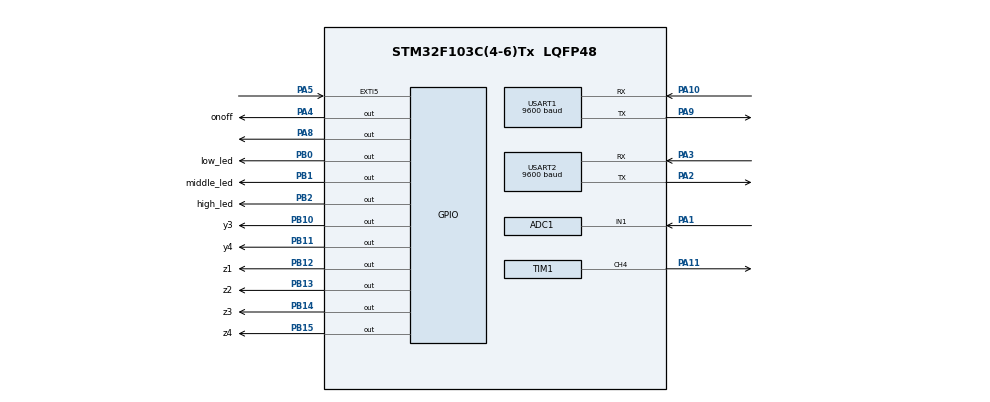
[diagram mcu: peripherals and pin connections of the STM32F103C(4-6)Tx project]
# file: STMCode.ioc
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ADC1.Channel-0\#ChannelRegularConversion=ADC_CHANNEL_1
ADC1.ContinuousConvMode=ENABLE
ADC1.NbrOfConversionFlag=1
ADC1.Rank-0\#ChannelRegularConversion=1
ADC1.SamplingTime-0\#ChannelRegularConversion=ADC_SAMPLETIME_55CYCLES_5
ADC1.master=1
Mcu.Family=STM32F1
Mcu.Name=STM32F103C(4-6)Tx
Mcu.Package=LQFP48
NVIC.ADC1_2_IRQn=true\:0\:0\:false\:false\:true\:true\:true
NVIC.EXTI9_5_IRQn=true\:0\:0\:false\:false\:true\:true\:true
NVIC.PriorityGroup=NVIC_PRIORITYGROUP_4
NVIC.RTC_IRQn=true\:0\:0\:false\:false\:true\:true\:true
NVIC.TIM2_IRQn=true\:0\:0\:true\:false\:true\:true\:true
NVIC.USART2_IRQn=true\:0\:0\:false\:false\:true\:true\:true
PA1.Signal=ADCx_IN1
PA10.Mode=Asynchronous
PA10.Signal=USART1_RX
PA11.Signal=S_TIM1_CH4
PA13.Mode=Serial_Wire
PA13.Signal=SYS_JTMS-SWDIO
PA14.Mode=Serial_Wire
PA14.Signal=SYS_JTCK-SWCLK
PA2.Mode=Asynchronous
PA2.Signal=USART2_TX
PA3.Mode=Asynchronous
PA3.Signal=USART2_RX
PA4.GPIO_Label=onoff
PA4.Signal=GPIO_Output
PA5.Signal=GPXTI5
PA8.Signal=GPIO_Output
PA9.Mode=Asynchronous
PA9.Signal=USART1_TX
PB0.GPIO_Label=low_led
PB0.Signal=GPIO_Output
PB1.GPIO_Label=middle_led
PB1.Signal=GPIO_Output
PB10.GPIO_Label=y3
PB10.Signal=GPIO_Output
PB11.GPIO_Label=y4
PB11.Signal=GPIO_Output
PB12.GPIO_Label=z1
PB12.Signal=GPIO_Output
PB13.GPIO_Label=z2
PB13.Signal=GPIO_Output
PB14.GPIO_Label=z3
PB14.Signal=GPIO_Output
PB15.GPIO_Label=z4
PB15.Signal=GPIO_Output
PB2.GPIO_Label=high_led
PB2.Signal=GPIO_Output
ProjectManager.HeapSize=0x200
ProjectManager.StackSize=0x400
ProjectManager.TargetToolchain=MDK-ARM V5
RCC.APB1Freq_Value=8000000
RCC.APB2Freq_Value=8000000
RTC.Format=RTC_FORMAT_BIN
RTC.Hours=10
RTC.Minutes=30
SH.ADCx_IN1.0=ADC1_IN1,IN1
SH.S_TIM1_CH4.0=TIM1_CH4,PWM Generation4 CH4
TIM1.Channel-PWM\ Generation4\ CH4=TIM_CHANNEL_4
TIM1.OCIdleState_4=TIM_OCIDLESTATE_SET
TIM1.OCMode_PWM-PWM\ Generation4\ CH4=TIM_OCMODE_PWM2
TIM1.Period=999
TIM1.Prescaler=7
TIM1.Pulse-PWM\ Generation4\ CH4=500
TIM2.Period=999
TIM2.Prescaler=1999
USART1.BaudRate=9600
USART1.VirtualMode=VM_ASYNC
USART2.BaudRate=9600
USART2.Mode=MODE_TX_RX
USART2.VirtualMode=VM_ASYNC
VP_RTC_VS_RTC_Activate.Mode=RTC_Enabled
VP_RTC_VS_RTC_Calendar.Mode=RTC_Calendar
VP_TIM1_VS_ClockSourceINT.Mode=Internal
VP_TIM2_VS_ClockSourceINT.Mode=Internal
board=custom

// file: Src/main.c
/* USER CODE BEGIN Header */
/**
  ******************************************************************************
  * @file           : main.c
  * @brief          : Main program body
  ******************************************************************************
  * @attention
  *
  * <h2><center>&copy; Copyright (c) 2021 STMicroelectronics.
  * All rights reserved.</center></h2>
  *
  * This software component is licensed by ST under BSD 3-Clause license,
  * the "License"; You may not use this file except in compliance with the
  * License. You may obtain a copy of the License at:
  *                        opensource.org/licenses/BSD-3-Clause
  *
  ******************************************************************************
  */
/* USER CODE END Header */
#include "main.h"

/* USER CODE BEGIN Includes */
#include <stdio.h>
#include "string.h"
#include "lcd_txt.h"
/* USER CODE END Includes */

/* USER CODE BEGIN PTD */
static uint16_t status=0;
/* USER CODE END PTD */

ADC_HandleTypeDef hadc1;

RTC_HandleTypeDef hrtc;

TIM_HandleTypeDef htim1;
TIM_HandleTypeDef htim2;

UART_HandleTypeDef huart1;
UART_HandleTypeDef huart2;

/* USER CODE BEGIN PV */
uint16_t adc_val_ldr=0;   //Light sensor raw data
char uart_msg[100];
uint8_t uart_msg2[1];//UART message string kept here
char init_msg[]="                  Anil And Ziya Presents...\r\n";
char str[10];

uint16_t amountOfLigth=0;		//FOR lcd , processed raw light sensor data comes here
uint16_t pwmValue=0;			//PWM to digital !!!!!!!
uint16_t firstDigit=0;    // seven-segment first digit placeholder
uint16_t secondDigit=0;		// seven-segment second digit placeholder
uint16_t thirdDigit=0;		// seven-segment third digit placeholder
uint16_t ligthCopy=0; 		//for leds green white and red
uint16_t previous=0;			//to run lcd_clean because if we run each time is not seems good
int i=0;
RTC_TimeTypeDef sTime;
RTC_DateTypeDef sDate;
uint8_t sec = 0;
uint8_t min = 0;
uint8_t hour = 0;
char time[10];

/* USER CODE END PV */

void SystemClock_Config(void);
static void MX_GPIO_Init(void);
static void MX_ADC1_Init(void);
static void MX_TIM1_Init(void);
static void MX_TIM2_Init(void);
static void MX_USART1_UART_Init(void);
static void MX_USART2_UART_Init(void);
static void MX_RTC_Init(void);

/* USER CODE BEGIN 0 */

//this method is used to transform adc raw value to user friendly format
float mapValue(float adc_val, float min_Adc, float max_Adc, float min_Map, float max_Map){
	return adc_val*((max_Map-min_Map)/(max_Adc-min_Adc));
}

/* USER CODE END 0 */

int main(void)
{

  /* MCU Configuration--------------------------------------------------------*/

  /* Reset of all peripherals, Initializes the Flash interface and the Systick. */
  HAL_Init();

  /* Configure the system clock */
  SystemClock_Config();

  /* Initialize all configured peripherals */
  MX_GPIO_Init();
  MX_ADC1_Init();
  MX_TIM1_Init();
  MX_TIM2_Init();
  MX_USART1_UART_Init();
  MX_USART2_UART_Init();
  MX_RTC_Init();
  /* USER CODE BEGIN 2 */
	HAL_GPIO_WritePin(GPIOA, GPIO_PIN_8, GPIO_PIN_SET);

	lcd_init();

	//lcd_puts(0,0,(int8_t*)"lcd test");
	//HAL_Delay(1000);

	HAL_UART_Transmit(&huart1, (uint8_t*)init_msg, strlen(init_msg),100); //transmitting openning message
	//GPIOB->ODR=(0<<4 | (0<<8) |(0<<12)); // starting lcd with initializing it to zero
  //HAL_Delay(500);
	HAL_ADC_Start_IT(&hadc1);//starting interrupt system
	HAL_TIM_Base_Start_IT(&htim2); // starting timer
	HAL_TIM_PWM_Start(&htim1,TIM_CHANNEL_4); // started to pwm !!!!!
	uint8_t data_receive_2[1];
	__HAL_RTC_SECOND_ENABLE_IT(&hrtc,RTC_IT_SEC);
  /* USER CODE END 2 */

  /* Infinite loop */
  /* USER CODE BEGIN WHILE */
  while (1)
  {

		//
		/*
		HAL_GPIO_WritePin(GPIOA,GPIO_PIN_1| GPIO_PIN_2|GPIO_PIN_3,1);
    HAL_Delay(1000);
		HAL_GPIO_WritePin(GPIOA,GPIO_PIN_1| GPIO_PIN_2|GPIO_PIN_3,0);
		HAL_Delay(1000);
		*/
    /* USER CODE END WHILE */

    /* USER CODE BEGIN 3 */

		//char a[10];
	// sscanf(uart_msg2, "%s", a);
	 //status = temp2;*/

		HAL_UART_Receive_IT(&huart2, data_receive_2, sizeof(data_receive_2));
			if (data_receive_2[0] == '1')
    {
				status=1;
			HAL_GPIO_WritePin(GPIOA,onoff_Pin, GPIO_PIN_SET);
        //HAL_GPIO_WritePin(GPIOB, GPIO_PIN_1, GPIO_PIN_SET);
        //data_receive_2[0] = ' ';
    }
		if (data_receive_2[0] == '0')
    {
				status=0;
			HAL_GPIO_WritePin(GPIOA,onoff_Pin, GPIO_PIN_RESET);
			HAL_GPIO_WritePin(GPIOB,GPIO_PIN_0, GPIO_PIN_RESET);
		HAL_GPIO_WritePin(GPIOB,GPIO_PIN_1, GPIO_PIN_RESET);
		HAL_GPIO_WritePin(GPIOB,GPIO_PIN_2, GPIO_PIN_RESET);
			lcd_clear();
       // HAL_GPIO_WritePin(GPIOB, GPIO_PIN_1, GPIO_PIN_RESET);
        //data_receive_2[0] = ' ';
    }

		//
		if(status==1){
			//HAL_GPIO_WritePin(
			//lcd_puts(0,0,(int8_t*)time);
			lcd_puts(1,0,(int8_t*)str);

			//lcd_puts(0,0,(int8_t*)uart_msg2);
			sprintf(str,"");
			//	sprintf(time,"");

		//LCD screen display
		//calculating digit values

		}

  }
  /* USER CODE END 3 */
}

void SystemClock_Config(void)
{
  RCC_OscInitTypeDef RCC_OscInitStruct = {0};
  RCC_ClkInitTypeDef RCC_ClkInitStruct = {0};
  RCC_PeriphCLKInitTypeDef PeriphClkInit = {0};

  /** Initializes the RCC Oscillators according to the specified parameters
  * in the RCC_OscInitTypeDef structure.
  */
  RCC_OscInitStruct.OscillatorType = RCC_OSCILLATORTYPE_HSI|RCC_OSCILLATORTYPE_LSI;
  RCC_OscInitStruct.HSIState = RCC_HSI_ON;
  RCC_OscInitStruct.HSICalibrationValue = RCC_HSICALIBRATION_DEFAULT;
  RCC_OscInitStruct.LSIState = RCC_LSI_ON;
  RCC_OscInitStruct.PLL.PLLState = RCC_PLL_NONE;
  if (HAL_RCC_OscConfig(&RCC_OscInitStruct) != HAL_OK)
  {
    Error_Handler();
  }
  /** Initializes the CPU, AHB and APB buses clocks
  */
  RCC_ClkInitStruct.ClockType = RCC_CLOCKTYPE_HCLK|RCC_CLOCKTYPE_SYSCLK
                              |RCC_CLOCKTYPE_PCLK1|RCC_CLOCKTYPE_PCLK2;
  RCC_ClkInitStruct.SYSCLKSource = RCC_SYSCLKSOURCE_HSI;
  RCC_ClkInitStruct.AHBCLKDivider = RCC_SYSCLK_DIV1;
  RCC_ClkInitStruct.APB1CLKDivider = RCC_HCLK_DIV1;
  RCC_ClkInitStruct.APB2CLKDivider = RCC_HCLK_DIV1;

  if (HAL_RCC_ClockConfig(&RCC_ClkInitStruct, FLASH_LATENCY_0) != HAL_OK)
  {
    Error_Handler();
  }
  PeriphClkInit.PeriphClockSelection = RCC_PERIPHCLK_RTC|RCC_PERIPHCLK_ADC;
  PeriphClkInit.RTCClockSelection = RCC_RTCCLKSOURCE_LSI;
  PeriphClkInit.AdcClockSelection = RCC_ADCPCLK2_DIV2;
  if (HAL_RCCEx_PeriphCLKConfig(&PeriphClkInit) != HAL_OK)
  {
    Error_Handler();
  }
}

static void MX_ADC1_Init(void)
{

  ADC_ChannelConfTypeDef sConfig = {0};

  /** Common config
  */
  hadc1.Instance = ADC1;
  hadc1.Init.ScanConvMode = ADC_SCAN_DISABLE;
  hadc1.Init.ContinuousConvMode = ENABLE;
  hadc1.Init.DiscontinuousConvMode = DISABLE;
  hadc1.Init.ExternalTrigConv = ADC_SOFTWARE_START;
  hadc1.Init.DataAlign = ADC_DATAALIGN_RIGHT;
  hadc1.Init.NbrOfConversion = 1;
  if (HAL_ADC_Init(&hadc1) != HAL_OK)
  {
    Error_Handler();
  }
  /** Configure Regular Channel
  */
  sConfig.Channel = ADC_CHANNEL_1;
  sConfig.Rank = ADC_REGULAR_RANK_1;
  sConfig.SamplingTime = ADC_SAMPLETIME_55CYCLES_5;
  if (HAL_ADC_ConfigChannel(&hadc1, &sConfig) != HAL_OK)
  {
    Error_Handler();
  }

}

static void MX_RTC_Init(void)
{

  RTC_TimeTypeDef sTime = {0};
  RTC_DateTypeDef DateToUpdate = {0};

  /** Initialize RTC Only
  */
  hrtc.Instance = RTC;
  hrtc.Init.AsynchPrediv = RTC_AUTO_1_SECOND;
  hrtc.Init.OutPut = RTC_OUTPUTSOURCE_ALARM;
  if (HAL_RTC_Init(&hrtc) != HAL_OK)
  {
    Error_Handler();
  }

  /** Initialize RTC and set the Time and Date
  */
  sTime.Hours = 10;
  sTime.Minutes = 30;
  sTime.Seconds = 0;

  if (HAL_RTC_SetTime(&hrtc, &sTime, RTC_FORMAT_BIN) != HAL_OK)
  {
    Error_Handler();
  }
  DateToUpdate.WeekDay = RTC_WEEKDAY_MONDAY;
  DateToUpdate.Month = RTC_MONTH_JANUARY;
  DateToUpdate.Date = 1;
  DateToUpdate.Year = 0;

  if (HAL_RTC_SetDate(&hrtc, &DateToUpdate, RTC_FORMAT_BIN) != HAL_OK)
  {
    Error_Handler();
  }

}

static void MX_TIM1_Init(void)
{

  TIM_ClockConfigTypeDef sClockSourceConfig = {0};
  TIM_MasterConfigTypeDef sMasterConfig = {0};
  TIM_OC_InitTypeDef sConfigOC = {0};
  TIM_BreakDeadTimeConfigTypeDef sBreakDeadTimeConfig = {0};

  htim1.Instance = TIM1;
  htim1.Init.Prescaler = 7;
  htim1.Init.CounterMode = TIM_COUNTERMODE_UP;
  htim1.Init.Period = 999;
  htim1.Init.ClockDivision = TIM_CLOCKDIVISION_DIV1;
  htim1.Init.RepetitionCounter = 0;
  htim1.Init.AutoReloadPreload = TIM_AUTORELOAD_PRELOAD_DISABLE;
  if (HAL_TIM_Base_Init(&htim1) != HAL_OK)
  {
    Error_Handler();
  }
  sClockSourceConfig.ClockSource = TIM_CLOCKSOURCE_INTERNAL;
  if (HAL_TIM_ConfigClockSource(&htim1, &sClockSourceConfig) != HAL_OK)
  {
    Error_Handler();
  }
  if (HAL_TIM_PWM_Init(&htim1) != HAL_OK)
  {
    Error_Handler();
  }
  sMasterConfig.MasterOutputTrigger = TIM_TRGO_RESET;
  sMasterConfig.MasterSlaveMode = TIM_MASTERSLAVEMODE_DISABLE;
  if (HAL_TIMEx_MasterConfigSynchronization(&htim1, &sMasterConfig) != HAL_OK)
  {
    Error_Handler();
  }
  sConfigOC.OCMode = TIM_OCMODE_PWM2;
  sConfigOC.Pulse = 500;
  sConfigOC.OCPolarity = TIM_OCPOLARITY_HIGH;
  sConfigOC.OCFastMode = TIM_OCFAST_DISABLE;
  sConfigOC.OCIdleState = TIM_OCIDLESTATE_SET;
  sConfigOC.OCNIdleState = TIM_OCNIDLESTATE_RESET;
  if (HAL_TIM_PWM_ConfigChannel(&htim1, &sConfigOC, TIM_CHANNEL_4) != HAL_OK)
  {
    Error_Handler();
  }
  sBreakDeadTimeConfig.OffStateRunMode = TIM_OSSR_DISABLE;
  sBreakDeadTimeConfig.OffStateIDLEMode = TIM_OSSI_DISABLE;
  sBreakDeadTimeConfig.LockLevel = TIM_LOCKLEVEL_OFF;
  sBreakDeadTimeConfig.DeadTime = 0;
  sBreakDeadTimeConfig.BreakState = TIM_BREAK_DISABLE;
  sBreakDeadTimeConfig.BreakPolarity = TIM_BREAKPOLARITY_HIGH;
  sBreakDeadTimeConfig.AutomaticOutput = TIM_AUTOMATICOUTPUT_DISABLE;
  if (HAL_TIMEx_ConfigBreakDeadTime(&htim1, &sBreakDeadTimeConfig) != HAL_OK)
  {
    Error_Handler();
  }
  HAL_TIM_MspPostInit(&htim1);

}

static void MX_TIM2_Init(void)
{

  TIM_ClockConfigTypeDef sClockSourceConfig = {0};
  TIM_MasterConfigTypeDef sMasterConfig = {0};

  htim2.Instance = TIM2;
  htim2.Init.Prescaler = 1999;
  htim2.Init.CounterMode = TIM_COUNTERMODE_UP;
  htim2.Init.Period = 999;
  htim2.Init.ClockDivision = TIM_CLOCKDIVISION_DIV1;
  htim2.Init.AutoReloadPreload = TIM_AUTORELOAD_PRELOAD_DISABLE;
  if (HAL_TIM_Base_Init(&htim2) != HAL_OK)
  {
    Error_Handler();
  }
  sClockSourceConfig.ClockSource = TIM_CLOCKSOURCE_INTERNAL;
  if (HAL_TIM_ConfigClockSource(&htim2, &sClockSourceConfig) != HAL_OK)
  {
    Error_Handler();
  }
  sMasterConfig.MasterOutputTrigger = TIM_TRGO_RESET;
  sMasterConfig.MasterSlaveMode = TIM_MASTERSLAVEMODE_DISABLE;
  if (HAL_TIMEx_MasterConfigSynchronization(&htim2, &sMasterConfig) != HAL_OK)
  {
    Error_Handler();
  }

}

static void MX_USART1_UART_Init(void)
{

  huart1.Instance = USART1;
  huart1.Init.BaudRate = 9600;
  huart1.Init.WordLength = UART_WORDLENGTH_8B;
  huart1.Init.StopBits = UART_STOPBITS_1;
  huart1.Init.Parity = UART_PARITY_NONE;
  huart1.Init.Mode = UART_MODE_TX_RX;
  huart1.Init.HwFlowCtl = UART_HWCONTROL_NONE;
  huart1.Init.OverSampling = UART_OVERSAMPLING_16;
  if (HAL_UART_Init(&huart1) != HAL_OK)
  {
    Error_Handler();
  }

}

static void MX_USART2_UART_Init(void)
{

  huart2.Instance = USART2;
  huart2.Init.BaudRate = 9600;
  huart2.Init.WordLength = UART_WORDLENGTH_8B;
  huart2.Init.StopBits = UART_STOPBITS_1;
  huart2.Init.Parity = UART_PARITY_NONE;
  huart2.Init.Mode = UART_MODE_TX_RX;
  huart2.Init.HwFlowCtl = UART_HWCONTROL_NONE;
  huart2.Init.OverSampling = UART_OVERSAMPLING_16;
  if (HAL_UART_Init(&huart2) != HAL_OK)
  {
    Error_Handler();
  }

}

static void MX_GPIO_Init(void)
{
  GPIO_InitTypeDef GPIO_InitStruct = {0};

  /* GPIO Ports Clock Enable */
  __HAL_RCC_GPIOA_CLK_ENABLE();
  __HAL_RCC_GPIOB_CLK_ENABLE();

  /*Configure GPIO pin Output Level */
  HAL_GPIO_WritePin(GPIOA, onoff_Pin|GPIO_PIN_8, GPIO_PIN_RESET);

  /*Configure GPIO pin Output Level */
  HAL_GPIO_WritePin(GPIOB, low_led_Pin|middle_led_Pin|high_led_Pin|y3_Pin
                          |y4_Pin|z1_Pin|z2_Pin|z3_Pin
                          |z4_Pin, GPIO_PIN_RESET);

  /*Configure GPIO pins : onoff_Pin PA8 */
  GPIO_InitStruct.Pin = onoff_Pin|GPIO_PIN_8;
  GPIO_InitStruct.Mode = GPIO_MODE_OUTPUT_PP;
  GPIO_InitStruct.Pull = GPIO_NOPULL;
  GPIO_InitStruct.Speed = GPIO_SPEED_FREQ_LOW;
  HAL_GPIO_Init(GPIOA, &GPIO_InitStruct);

  /*Configure GPIO pin : PA5 */
  GPIO_InitStruct.Pin = GPIO_PIN_5;
  GPIO_InitStruct.Mode = GPIO_MODE_IT_RISING;
  GPIO_InitStruct.Pull = GPIO_NOPULL;
  HAL_GPIO_Init(GPIOA, &GPIO_InitStruct);

  /*Configure GPIO pins : low_led_Pin middle_led_Pin high_led_Pin y3_Pin
                           y4_Pin z1_Pin z2_Pin z3_Pin
                           z4_Pin */
  GPIO_InitStruct.Pin = low_led_Pin|middle_led_Pin|high_led_Pin|y3_Pin
                          |y4_Pin|z1_Pin|z2_Pin|z3_Pin
                          |z4_Pin;
  GPIO_InitStruct.Mode = GPIO_MODE_OUTPUT_PP;
  GPIO_InitStruct.Pull = GPIO_NOPULL;
  GPIO_InitStruct.Speed = GPIO_SPEED_FREQ_LOW;
  HAL_GPIO_Init(GPIOB, &GPIO_InitStruct);

  /* EXTI interrupt init*/
  HAL_NVIC_SetPriority(EXTI9_5_IRQn, 0, 0);
  HAL_NVIC_EnableIRQ(EXTI9_5_IRQn);

}

/* USER CODE BEGIN 4 */
// usart interrupt is triggered
void HAL_TIM_PeriodElapsedCallback(TIM_HandleTypeDef *htim)
{
	 if(status==1){

			if(htim-> Instance == TIM2){

				/* if(ligthCopy<0){
		Error_Handler();
		}*/
		ligthCopy=amountOfLigth;

		sprintf(str, "%.3d", amountOfLigth);

		firstDigit=amountOfLigth%10;
    amountOfLigth=amountOfLigth/10;
    secondDigit=amountOfLigth%10;
    thirdDigit=amountOfLigth/10;

		//pwm range control
		if(pwmValue>=1000){
			pwmValue=1000;
		}if(pwmValue<=0){
			pwmValue=0;
		}
		// green lamp is on
		//lcd digits are setted
		if(ligthCopy>0 && ligthCopy<=33){
			GPIOB->ODR=(9 );

			TIM1->CCR4=(1010-pwmValue);

			// white lamp is on
			//lcd digits are setted
		}if(ligthCopy>33 && ligthCopy<=67){
			GPIOB->ODR=(10 );

			TIM1->CCR4=(1010-pwmValue);

		// red lamp is on
			//lcd digits are setted
		}if(ligthCopy>67 && ligthCopy<=101){

			GPIOB->ODR=(12);
			TIM1->CCR4=(1010-pwmValue);
		}

		 if(ligthCopy>0 && ligthCopy<=33){
			 sprintf(uart_msg,"Ambient Brighntness is %d  		Lamp Brightness is %d time: %s \r\n", ligthCopy,(1010-pwmValue),time);
       HAL_UART_Transmit(&huart1, (uint8_t*)uart_msg, strlen(uart_msg),10);

		 } if(ligthCopy>33 && ligthCopy<=67){
			  sprintf(uart_msg,"Ambient Brighntness is %d  		Lamp Brightness is %d time: %s \r\n", ligthCopy,(1010-pwmValue),time);
       HAL_UART_Transmit(&huart1, (uint8_t*)uart_msg, strlen(uart_msg),10);

		 }if(ligthCopy>67 && ligthCopy<=101){
			  sprintf(uart_msg,"Ambient Brighntness is %d  		Lamp Brightness is %d time: %s \r\n", ligthCopy,(1010-pwmValue),time);
       HAL_UART_Transmit(&huart1, (uint8_t*)uart_msg, strlen(uart_msg),10);
		 }

	 }

   }

}

void HAL_RTCEx_RTCEventCallback(RTC_HandleTypeDef *hrtc)
{

		RTC_TimeTypeDef tmpTime;
		if (HAL_OK != HAL_RTC_GetTime(hrtc,&tmpTime,RTC_FORMAT_BIN)){
			Error_Handler();
		}
		sec = tmpTime.Seconds;
		min = tmpTime.Minutes;
		hour = tmpTime.Hours;

		sprintf(time, "%02d: %02d: %02d", hour, min, sec);

}

// adc interrupt triggered
void HAL_ADC_ConvCpltCallback(ADC_HandleTypeDef* hadc)
{

			// this method transforms light sensor's raw data
	if(status==1){
     adc_val_ldr=HAL_ADC_GetValue(&hadc1);
			amountOfLigth=mapValue(adc_val_ldr,41,3900,0,100);// The valuess between 41 to 3900,which is raw light sensor data, is rearranged to 0 to 100 interval
			pwmValue=mapValue(amountOfLigth,1,101,0,1000); // Converting pwm value!!!!!
		/*
			char temp[1];
			HAL_GPIO_WritePin(GPIOA, GPIO_PIN_8, GPIO_PIN_RESET);
			HAL_SPI_Receive(&hspi1,(uint8_t*)temp,1,100);
			HAL_GPIO_WritePin(GPIOA, GPIO_PIN_8, GPIO_PIN_SET);*/
	}

}

void HAL_GPIO_EXTI_Callback(uint16_t GPIO_Pin)
{
	if(status==0){
	status = 1;
	HAL_GPIO_WritePin(GPIOA,onoff_Pin, GPIO_PIN_SET);
		return;
	}
	if(status==1){
	status = 0;
	HAL_GPIO_WritePin(GPIOA,onoff_Pin, GPIO_PIN_RESET);

		HAL_GPIO_WritePin(GPIOB,GPIO_PIN_0, GPIO_PIN_RESET);
		HAL_GPIO_WritePin(GPIOB,GPIO_PIN_1, GPIO_PIN_RESET);
		HAL_GPIO_WritePin(GPIOB,GPIO_PIN_2, GPIO_PIN_RESET);
		return;
	}

}

/* USER CODE END 4 */

void Error_Handler(void)
{
}
